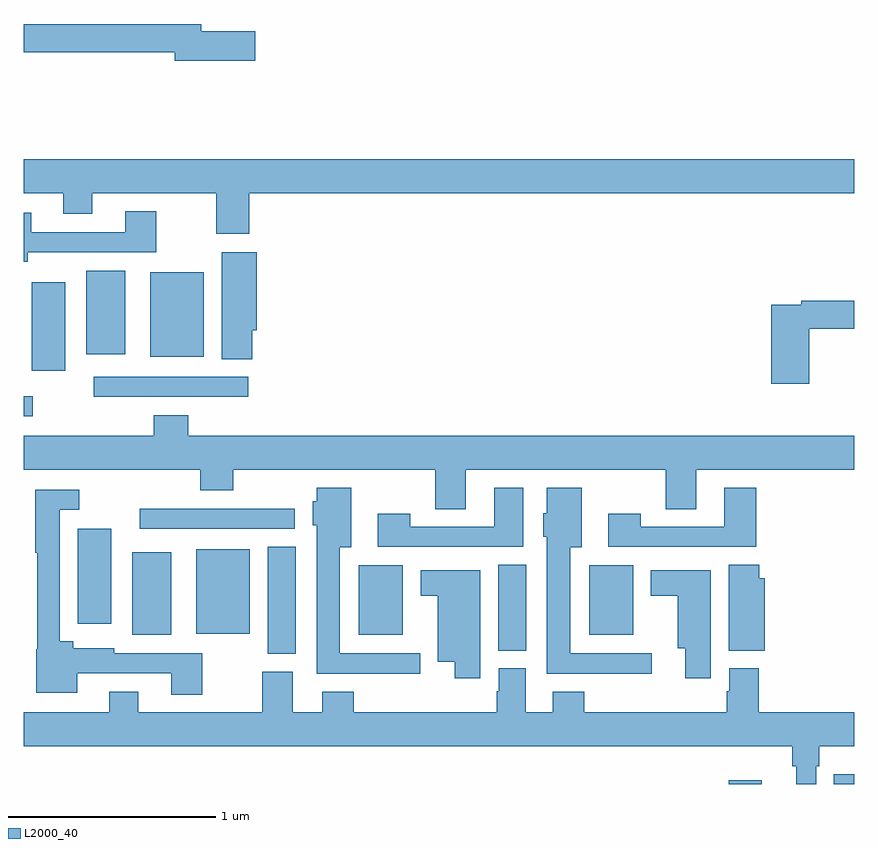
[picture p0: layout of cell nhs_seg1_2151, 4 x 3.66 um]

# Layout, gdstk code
import gdstk
lib = gdstk.Library(unit=1e-6, precision=1e-09)
def R(c, l, rs):  # rectangles x0, y0, x1, y1
    for r in rs: c.add(gdstk.rectangle(r[:2], r[2:], *l))
def P(c, l, *ps):  # polygons
    for p in ps: c.add(gdstk.Polygon(p, *l))
L2000_40 = (2000, 40)

nhs_seg1_2151 = lib.new_cell('nhs_seg1_2151')
R(nhs_seg1_2151, L2000_40, [(230.396,570.199,230.554,570.217), (230.902,570.199,231,570.246), (228.176,570.827,228.31,571.343), (229.286,570.841,229.42,571.256), (227.522,570.917,227.71,571.315), (228.614,570.917,228.826,571.252), (229.724,570.917,229.936,571.252), (227.831,570.923,228.088,571.33), (227.261,570.972,227.422,571.429), (227.559,571.428,228.304,571.524), (227,571.971,227.044,572.067), (227.337,572.064,228.082,572.16), (227.039,572.19,227.2,572.617), (227.609,572.258,227.866,572.665), (227.3,572.27,227.488,572.671)])
P(nhs_seg1_2151, L2000_40, [(228.115,573.824),(227.854,573.824),(227.854,573.86),(227,573.86),(227,573.724),(227.726,573.724),(227.726,573.682),(228.115,573.682)],
  [(228.086,573.044),(231,573.044),(231,573.208),(227,573.208),(227,573.044),(227.189,573.044),(227.189,572.945),(227.329,572.945),(227.329,573.044),(227.926,573.044),(227.926,572.85),(228.086,572.85)],
  [(227.02,572.76),(227.637,572.76),(227.637,572.959),(227.489,572.959),(227.489,572.856),(227.035,572.856),(227.035,572.95),(227,572.95),(227,572.714),(227.02,572.714)],
  [(228.101,572.385),(228.122,572.385),(228.122,572.761),(227.954,572.761),(227.954,572.245),(228.101,572.245)],
  [(230.783,572.392),(231,572.392),(231,572.528),(230.746,572.528),(230.746,572.508),(230.6,572.508),(230.6,572.127),(230.783,572.127)],
  [(229.129,571.712),(230.092,571.712),(230.092,571.522),(230.239,571.522),(230.239,571.712),(231,571.712),(231,571.876),(227.792,571.876),(227.792,571.975),(227.627,571.975),(227.627,571.876),(227,571.876),(227,571.712),(227.849,571.712),(227.849,571.613),(228.009,571.613),(228.009,571.712),(228.982,571.712),(228.982,571.522),(229.129,571.522)],
  [(230.528,571.627),(230.375,571.627),(230.375,571.437),(229.971,571.437),(229.971,571.501),(229.815,571.501),(229.815,571.341),(230.528,571.341)],
  [(229.405,571.627),(229.265,571.627),(229.265,571.437),(228.861,571.437),(228.861,571.501),(228.705,571.501),(228.705,571.341),(229.405,571.341)],
  [(228.91,570.828),(228.523,570.828),(228.523,571.34),(228.577,571.34),(228.577,571.627),(228.41,571.627),(228.41,571.56),(228.392,571.56),(228.392,571.446),(228.41,571.446),(228.41,570.731),(228.91,570.731)],
  [(230.026,570.828),(229.633,570.828),(229.633,571.34),(229.687,571.34),(229.687,571.627),(229.52,571.627),(229.52,571.503),(229.502,571.503),(229.502,571.389),(229.52,571.389),(229.52,570.731),(230.026,570.731)],
  [(227.859,570.828),(227.436,570.828),(227.436,570.853),(227.238,570.853),(227.238,570.887),(227.172,570.887),(227.172,571.521),(227.266,571.521),(227.266,571.617),(227.056,571.617),(227.056,571.314),(227.064,571.314),(227.064,570.849),(227.06,570.849),(227.06,570.638),(227.257,570.638),(227.257,570.732),(227.711,570.732),(227.711,570.63),(227.859,570.63)],
  [(230.569,571.189),(230.543,571.189),(230.543,571.256),(230.396,571.256),(230.396,570.842),(230.569,570.842)],
  [(229.198,571.228),(228.911,571.228),(228.911,571.106),(228.995,571.106),(228.995,570.788),(229.076,570.788),(229.076,570.708),(229.198,570.708)],
  [(230.308,571.228),(230.021,571.228),(230.021,571.106),(230.15,571.106),(230.15,570.854),(230.186,570.854),(230.186,570.708),(230.308,570.708)],
  [(230.817,570.284),(230.831,570.284),(230.831,570.38),(231,570.38),(231,570.544),(230.54,570.544),(230.54,570.757),(230.399,570.757),(230.399,570.645),(230.387,570.645),(230.387,570.544),(229.7,570.544),(229.7,570.643),(229.547,570.643),(229.547,570.544),(229.417,570.544),(229.417,570.756),(229.289,570.756),(229.289,570.645),(229.277,570.645),(229.277,570.544),(228.59,570.544),(228.59,570.643),(228.437,570.643),(228.437,570.544),(228.295,570.544),(228.295,570.739),(228.148,570.739),(228.148,570.544),(227.551,570.544),(227.551,570.643),(227.411,570.643),(227.411,570.544),(227,570.544),(227,570.38),(230.701,570.38),(230.701,570.284),(230.72,570.284),(230.72,570.199),(230.817,570.199)])

lib.write_gds('nhs_seg1_2151.gds')
